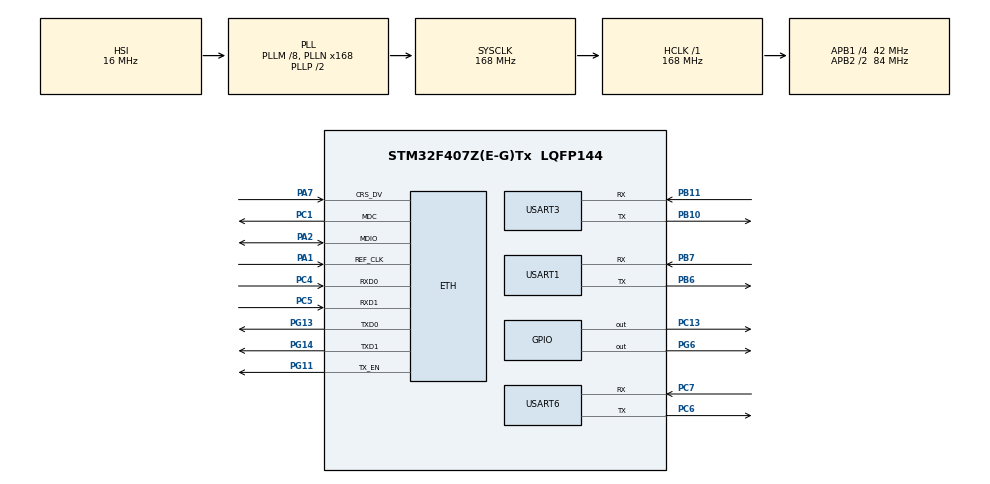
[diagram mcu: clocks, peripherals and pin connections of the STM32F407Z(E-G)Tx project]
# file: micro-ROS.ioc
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Dma.Request0=USART3_RX
Dma.Request1=USART3_TX
Dma.USART3_RX.0.Direction=DMA_PERIPH_TO_MEMORY
Dma.USART3_RX.0.FIFOMode=DMA_FIFOMODE_DISABLE
Dma.USART3_RX.0.Instance=DMA1_Stream1
Dma.USART3_RX.0.MemDataAlignment=DMA_MDATAALIGN_BYTE
Dma.USART3_RX.0.MemInc=DMA_MINC_ENABLE
Dma.USART3_RX.0.Mode=DMA_CIRCULAR
Dma.USART3_RX.0.PeriphDataAlignment=DMA_PDATAALIGN_BYTE
Dma.USART3_RX.0.PeriphInc=DMA_PINC_DISABLE
Dma.USART3_RX.0.Priority=DMA_PRIORITY_VERY_HIGH
Dma.USART3_TX.1.Direction=DMA_MEMORY_TO_PERIPH
Dma.USART3_TX.1.FIFOMode=DMA_FIFOMODE_DISABLE
Dma.USART3_TX.1.Instance=DMA1_Stream3
Dma.USART3_TX.1.MemDataAlignment=DMA_MDATAALIGN_BYTE
Dma.USART3_TX.1.MemInc=DMA_MINC_ENABLE
Dma.USART3_TX.1.Mode=DMA_NORMAL
Dma.USART3_TX.1.PeriphDataAlignment=DMA_PDATAALIGN_BYTE
Dma.USART3_TX.1.PeriphInc=DMA_PINC_DISABLE
Dma.USART3_TX.1.Priority=DMA_PRIORITY_MEDIUM
ETH.MediaInterface=ETH_MEDIA_INTERFACE_RMII
ETH.PhyAddress=0
ETH.RxMode=ETH_RXINTERRUPT_MODE
FREERTOS.Tasks01=initTask,23,1000,initTaskFunction,Default,NULL,Dynamic,NULL,NULL
FREERTOS.configTOTAL_HEAP_SIZE=50000
LWIP.GATEWAY_ADDRESS=192.168.001.001
LWIP.IP_ADDRESS=192.168.001.123
LWIP.LWIP_DHCP=1
LWIP.LWIP_DNS=1
LWIP.LWIP_SO_RCVTIMEO=1
LWIP.LWIP_SO_SNDTIMEO=1
LWIP.MEMP_NUM_SYS_TIMEOUT=6
LWIP.NETMASK_ADDRESS=255.255.255.000
LWIP.Version=v2.0.3_Cube
Mcu.Family=STM32F4
Mcu.Name=STM32F407Z(E-G)Tx
Mcu.Package=LQFP144
NVIC.DMA1_Stream1_IRQn=true\:5\:0\:false\:false\:true\:true\:false\:true
NVIC.DMA1_Stream3_IRQn=true\:5\:0\:false\:false\:true\:true\:false\:true
NVIC.ETH_IRQn=true\:5\:0\:false\:false\:true\:true\:false\:true
NVIC.PriorityGroup=NVIC_PRIORITYGROUP_4
NVIC.TIM1_UP_TIM10_IRQn=true\:0\:0\:false\:false\:true\:false\:false\:true
NVIC.TimeBase=TIM1_UP_TIM10_IRQn
NVIC.TimeBaseIP=TIM1
NVIC.USART3_IRQn=true\:5\:0\:false\:false\:true\:true\:true\:true
PA1.GPIO_PuPd=GPIO_PULLUP
PA1.Mode=RMII
PA1.Signal=ETH_REF_CLK
PA13.Mode=Trace_Asynchronous_SW
PA13.Signal=SYS_JTMS-SWDIO
PA14.Mode=Trace_Asynchronous_SW
PA14.Signal=SYS_JTCK-SWCLK
PA2.GPIO_PuPd=GPIO_PULLUP
PA2.Mode=RMII
PA2.Signal=ETH_MDIO
PA7.GPIO_PuPd=GPIO_PULLUP
PA7.Mode=RMII
PA7.Signal=ETH_CRS_DV
PB10.Mode=Asynchronous
PB10.Signal=USART3_TX
PB11.Mode=Asynchronous
PB11.Signal=USART3_RX
PB3.Mode=Trace_Asynchronous_SW
PB3.Signal=SYS_JTDO-SWO
PB6.Mode=Asynchronous
PB6.Signal=USART1_TX
PB7.Mode=Asynchronous
PB7.Signal=USART1_RX
PC1.GPIO_PuPd=GPIO_PULLUP
PC1.Mode=RMII
PC1.Signal=ETH_MDC
PC13-ANTI_TAMP.Signal=GPIO_Output
PC4.GPIO_PuPd=GPIO_PULLUP
PC4.Mode=RMII
PC4.Signal=ETH_RXD0
PC5.GPIO_PuPd=GPIO_PULLUP
PC5.Mode=RMII
PC5.Signal=ETH_RXD1
PC6.Mode=Asynchronous
PC6.Signal=USART6_TX
PC7.Mode=Asynchronous
PC7.Signal=USART6_RX
PG11.GPIO_PuPd=GPIO_PULLUP
PG11.Mode=RMII
PG11.Signal=ETH_TX_EN
PG13.GPIO_PuPd=GPIO_PULLUP
PG13.Mode=RMII
PG13.Signal=ETH_TXD0
PG14.GPIO_PuPd=GPIO_PULLUP
PG14.Mode=RMII
PG14.Signal=ETH_TXD1
PG6.Signal=GPIO_Output
PH0-OSC_IN.Mode=HSE-External-Oscillator
PH0-OSC_IN.Signal=RCC_OSC_IN
PH1-OSC_OUT.Mode=HSE-External-Oscillator
PH1-OSC_OUT.Signal=RCC_OSC_OUT
ProjectManager.HeapSize=0x200
ProjectManager.StackSize=0x400
ProjectManager.TargetToolchain=Makefile
RCC.48MHZClocksFreq_Value=84000000
RCC.AHBFreq_Value=168000000
RCC.APB1CLKDivider=RCC_HCLK_DIV4
RCC.APB1Freq_Value=42000000
RCC.APB1TimFreq_Value=84000000
RCC.APB2CLKDivider=RCC_HCLK_DIV2
RCC.APB2Freq_Value=84000000
RCC.APB2TimFreq_Value=168000000
RCC.CortexFreq_Value=168000000
RCC.HCLKFreq_Value=168000000
RCC.HSE_VALUE=12000000
RCC.HSI_VALUE=16000000
RCC.LSE_VALUE=32768
RCC.PLLM=8
RCC.PLLN=168
RCC.SYSCLKFreq_VALUE=168000000
RCC.SYSCLKSource=RCC_SYSCLKSOURCE_PLLCLK
RCC.VCOOutputFreq_Value=336000000
USART1.VirtualMode=VM_ASYNC
USART3.VirtualMode=VM_ASYNC
USART6.VirtualMode=VM_ASYNC
VP_FREERTOS_VS_CMSIS_V2.Mode=CMSIS_V2
VP_LWIP_VS_Enabled.Mode=Enabled
VP_SYS_VS_tim1.Mode=TIM1
board=custom

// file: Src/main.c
/* USER CODE BEGIN Header */
/**
  ******************************************************************************
  * @file           : main.c
  * @brief          : Main program body
  ******************************************************************************
  * @attention
  *
  * <h2><center>&copy; Copyright (c) 2020 STMicroelectronics.
  * All rights reserved.</center></h2>
  *
  * This software component is licensed by ST under Ultimate Liberty license
  * SLA0044, the "License"; You may not use this file except in compliance with
  * the License. You may obtain a copy of the License at:
  *                             www.st.com/SLA0044
  *
  ******************************************************************************
  */
/* USER CODE END Header */

#include "main.h"
#include "cmsis_os.h"
#include "lwip.h"

/* USER CODE BEGIN Includes */
#include "stm32f4xx_hal.h"
#include "api.h"

#include <allocators.h>
#include <rcl/rcl.h>
#include <uxr/client/client.h>
#include <ucdr/microcdr.h>

#include <sys/socket.h>
#include <ip_addr.h>

#include "FreeRTOS.h"
#include "task.h"

#include <rmw_microxrcedds_c/config.h>

/* USER CODE END Includes */

UART_HandleTypeDef huart1;
UART_HandleTypeDef huart3;
UART_HandleTypeDef huart6;
DMA_HandleTypeDef hdma_usart3_rx;
DMA_HandleTypeDef hdma_usart3_tx;

/* Definitions for initTask */
osThreadId_t initTaskHandle;
const osThreadAttr_t initTask_attributes = {
  .name = "initTask",
  .priority = (osPriority_t) osPriorityBelowNormal7,
  .stack_size = 1000
};

void SystemClock_Config(void);
static void MX_GPIO_Init(void);
static void MX_DMA_Init(void);
static void MX_USART3_UART_Init(void);
static void MX_USART1_UART_Init(void);
static void MX_USART6_UART_Init(void);
void initTaskFunction(void *argument);

/* USER CODE BEGIN PFP */
#define BUFSIZE 4096
char buffer[BUFSIZE];
extern struct netif gnetif;
UART_HandleTypeDef * printf_uart = NULL;
// extern appMain;

/* USER CODE END PFP */

/* USER CODE BEGIN 0 */
int __io_putchar(int ch)
{
  uint8_t c[1];
  c[0] = ch & 0x00FF;
  if (printf_uart != NULL){
     HAL_UART_Transmit(printf_uart, &c[0], 1, 10);
  }
  return ch;
}

int _write(int file,char *ptr, int len)
{
  int DataIdx;
  for(DataIdx= 0; DataIdx< len; DataIdx++){
  __io_putchar(*ptr++);
  }
  return len;
}
/* USER CODE END 0 */

int main(void)
{

  /* MCU Configuration--------------------------------------------------------*/

  /* Reset of all peripherals, Initializes the Flash interface and the Systick. */
  HAL_Init();

  /* Configure the system clock */
  SystemClock_Config();

  /* Initialize all configured peripherals */
  MX_GPIO_Init();
  MX_DMA_Init();
  MX_USART3_UART_Init();
  MX_LWIP_Init();
  MX_USART1_UART_Init();
  MX_USART6_UART_Init();
  /* USER CODE BEGIN 2 */

#ifdef MICRO_XRCEDDS_UDP
  printf_uart = &huart3;
#elif defined(MICRO_XRCEDDS_CUSTOM)
  if (!strcmp("3",RMW_UXRCE_DEFAULT_SERIAL_DEVICE)){
    printf_uart = &huart6;
  }else{
    printf_uart = &huart3;
  }
#endif

  /* USER CODE END 2 */
  /* Init scheduler */
  osKernelInitialize();

  /* Create the thread(s) */
  /* creation of initTask */
  initTaskHandle = osThreadNew(initTaskFunction, NULL, &initTask_attributes);

  /* Start scheduler */
  osKernelStart();

  /* We should never get here as control is now taken by the scheduler */

  /* Infinite loop */
  while (1)
  {

  }
}

void SystemClock_Config(void)
{
  RCC_OscInitTypeDef RCC_OscInitStruct = {0};
  RCC_ClkInitTypeDef RCC_ClkInitStruct = {0};

  /** Configure the main internal regulator output voltage
  */
  __HAL_RCC_PWR_CLK_ENABLE();
  __HAL_PWR_VOLTAGESCALING_CONFIG(PWR_REGULATOR_VOLTAGE_SCALE1);
  /** Initializes the CPU, AHB and APB busses clocks
  */
  RCC_OscInitStruct.OscillatorType = RCC_OSCILLATORTYPE_HSI;
  RCC_OscInitStruct.HSIState = RCC_HSI_ON;
  RCC_OscInitStruct.HSICalibrationValue = RCC_HSICALIBRATION_DEFAULT;
  RCC_OscInitStruct.PLL.PLLState = RCC_PLL_ON;
  RCC_OscInitStruct.PLL.PLLSource = RCC_PLLSOURCE_HSI;
  RCC_OscInitStruct.PLL.PLLM = 8;
  RCC_OscInitStruct.PLL.PLLN = 168;
  RCC_OscInitStruct.PLL.PLLP = RCC_PLLP_DIV2;
  RCC_OscInitStruct.PLL.PLLQ = 4;
  if (HAL_RCC_OscConfig(&RCC_OscInitStruct) != HAL_OK)
  {
    Error_Handler();
  }
  /** Initializes the CPU, AHB and APB busses clocks
  */
  RCC_ClkInitStruct.ClockType = RCC_CLOCKTYPE_HCLK|RCC_CLOCKTYPE_SYSCLK
                              |RCC_CLOCKTYPE_PCLK1|RCC_CLOCKTYPE_PCLK2;
  RCC_ClkInitStruct.SYSCLKSource = RCC_SYSCLKSOURCE_PLLCLK;
  RCC_ClkInitStruct.AHBCLKDivider = RCC_SYSCLK_DIV1;
  RCC_ClkInitStruct.APB1CLKDivider = RCC_HCLK_DIV4;
  RCC_ClkInitStruct.APB2CLKDivider = RCC_HCLK_DIV2;

  if (HAL_RCC_ClockConfig(&RCC_ClkInitStruct, FLASH_LATENCY_5) != HAL_OK)
  {
    Error_Handler();
  }
}

static void MX_USART1_UART_Init(void)
{

  huart1.Instance = USART1;
  huart1.Init.BaudRate = 115200;
  huart1.Init.WordLength = UART_WORDLENGTH_8B;
  huart1.Init.StopBits = UART_STOPBITS_1;
  huart1.Init.Parity = UART_PARITY_NONE;
  huart1.Init.Mode = UART_MODE_TX_RX;
  huart1.Init.HwFlowCtl = UART_HWCONTROL_NONE;
  huart1.Init.OverSampling = UART_OVERSAMPLING_16;
  if (HAL_UART_Init(&huart1) != HAL_OK)
  {
    Error_Handler();
  }

}

static void MX_USART3_UART_Init(void)
{

  huart3.Instance = USART3;
  huart3.Init.BaudRate = 115200;
  huart3.Init.WordLength = UART_WORDLENGTH_8B;
  huart3.Init.StopBits = UART_STOPBITS_1;
  huart3.Init.Parity = UART_PARITY_NONE;
  huart3.Init.Mode = UART_MODE_TX_RX;
  huart3.Init.HwFlowCtl = UART_HWCONTROL_NONE;
  huart3.Init.OverSampling = UART_OVERSAMPLING_16;
  if (HAL_UART_Init(&huart3) != HAL_OK)
  {
    Error_Handler();
  }

}

static void MX_USART6_UART_Init(void)
{

  huart6.Instance = USART6;
  huart6.Init.BaudRate = 115200;
  huart6.Init.WordLength = UART_WORDLENGTH_8B;
  huart6.Init.StopBits = UART_STOPBITS_1;
  huart6.Init.Parity = UART_PARITY_NONE;
  huart6.Init.Mode = UART_MODE_TX_RX;
  huart6.Init.HwFlowCtl = UART_HWCONTROL_NONE;
  huart6.Init.OverSampling = UART_OVERSAMPLING_16;
  if (HAL_UART_Init(&huart6) != HAL_OK)
  {
    Error_Handler();
  }

}

static void MX_DMA_Init(void)
{

  /* DMA controller clock enable */
  __HAL_RCC_DMA1_CLK_ENABLE();

  /* DMA interrupt init */
  /* DMA1_Stream1_IRQn interrupt configuration */
  HAL_NVIC_SetPriority(DMA1_Stream1_IRQn, 5, 0);
  HAL_NVIC_EnableIRQ(DMA1_Stream1_IRQn);
  /* DMA1_Stream3_IRQn interrupt configuration */
  HAL_NVIC_SetPriority(DMA1_Stream3_IRQn, 5, 0);
  HAL_NVIC_EnableIRQ(DMA1_Stream3_IRQn);

}

static void MX_GPIO_Init(void)
{
  GPIO_InitTypeDef GPIO_InitStruct = {0};

  /* GPIO Ports Clock Enable */
  __HAL_RCC_GPIOC_CLK_ENABLE();
  __HAL_RCC_GPIOH_CLK_ENABLE();
  __HAL_RCC_GPIOA_CLK_ENABLE();
  __HAL_RCC_GPIOB_CLK_ENABLE();
  __HAL_RCC_GPIOG_CLK_ENABLE();

  /*Configure GPIO pin Output Level */
  HAL_GPIO_WritePin(GPIOC, GPIO_PIN_13, GPIO_PIN_RESET);

  /*Configure GPIO pin Output Level */
  HAL_GPIO_WritePin(GPIOG, GPIO_PIN_6, GPIO_PIN_RESET);

  /*Configure GPIO pin : PC13 */
  GPIO_InitStruct.Pin = GPIO_PIN_13;
  GPIO_InitStruct.Mode = GPIO_MODE_OUTPUT_PP;
  GPIO_InitStruct.Pull = GPIO_NOPULL;
  GPIO_InitStruct.Speed = GPIO_SPEED_FREQ_LOW;
  HAL_GPIO_Init(GPIOC, &GPIO_InitStruct);

  /*Configure GPIO pin : PG6 */
  GPIO_InitStruct.Pin = GPIO_PIN_6;
  GPIO_InitStruct.Mode = GPIO_MODE_OUTPUT_PP;
  GPIO_InitStruct.Pull = GPIO_NOPULL;
  GPIO_InitStruct.Speed = GPIO_SPEED_FREQ_LOW;
  HAL_GPIO_Init(GPIOG, &GPIO_InitStruct);

}

void initTaskFunction(void *argument)
{
  /* USER CODE BEGIN 5 */
  HAL_GPIO_WritePin(GPIOG, GPIO_PIN_6, GPIO_PIN_SET);
  bool availableNetwork = false;

#ifdef MICRO_XRCEDDS_CUSTOM
  availableNetwork = true;
#elif defined(MICRO_XRCEDDS_UDP)
  printf("Ethernet Initialization\r\n");

	//Waiting for an IP
  printf("Waiting for IP\r\n");
  int retries = 0;
	while(gnetif.ip_addr.addr == 0 && retries < 10){
    osDelay(500);
    retries++;
  };

  availableNetwork = (gnetif.ip_addr.addr != 0);
  if (availableNetwork){
    printf("IP: %s\r\n",ip4addr_ntoa(&gnetif.ip_addr));
  }else{
    printf("Impossible to retrieve an IP\n");
  }
#endif

  // Launch app thread when IP configured
  rcl_allocator_t freeRTOS_allocator = rcutils_get_zero_initialized_allocator();
  freeRTOS_allocator.allocate = __freertos_allocate;
  freeRTOS_allocator.deallocate = __freertos_deallocate;
  freeRTOS_allocator.reallocate = __freertos_reallocate;
  freeRTOS_allocator.zero_allocate = __freertos_zero_allocate;

  if (!rcutils_set_default_allocator(&freeRTOS_allocator)) {
      printf("Error on default allocators (line %d)\n",__LINE__);
  }

  osThreadAttr_t attributes;
  memset(&attributes, 0x0, sizeof(osThreadAttr_t));
  attributes.name = "microROS_app";
  attributes.stack_size = 4*3000;
  attributes.priority = (osPriority_t) osPriorityNormal1;
  osThreadNew(appMain, NULL, &attributes);

  osDelay(500);
  char ptrTaskList[500];
  vTaskList(ptrTaskList);
  printf("**********************************\n");
  printf("Task  State   Prio    Stack    Num\n");
  printf("**********************************\n");
  printf(ptrTaskList);
  printf("**********************************\n");

  TaskHandle_t xHandle;
  xHandle = xTaskGetHandle("microROS_app");

  while (1){
    if (eTaskGetState(xHandle) != eSuspended && availableNetwork){
      HAL_GPIO_WritePin(GPIOC, GPIO_PIN_13, GPIO_PIN_RESET);
      osDelay(100);
      HAL_GPIO_WritePin(GPIOC, GPIO_PIN_13, GPIO_PIN_SET);
      osDelay(100);
      HAL_GPIO_WritePin(GPIOC, GPIO_PIN_13, GPIO_PIN_RESET);
      osDelay(150);
      HAL_GPIO_WritePin(GPIOC, GPIO_PIN_13, GPIO_PIN_SET);
      osDelay(500);
    }else{
      HAL_GPIO_WritePin(GPIOC, GPIO_PIN_13, GPIO_PIN_RESET);
      osDelay(1000);
      HAL_GPIO_WritePin(GPIOC, GPIO_PIN_13, GPIO_PIN_SET);
      osDelay(1000);
    }
  }

  /* USER CODE END 5 */
}

void HAL_TIM_PeriodElapsedCallback(TIM_HandleTypeDef *htim)
{
  if (htim->Instance == TIM1) {
    HAL_IncTick();
  }
}

void Error_Handler(void)
{
}

/************************ (C) COPYRIGHT STMicroelectronics *****END OF FILE****/
